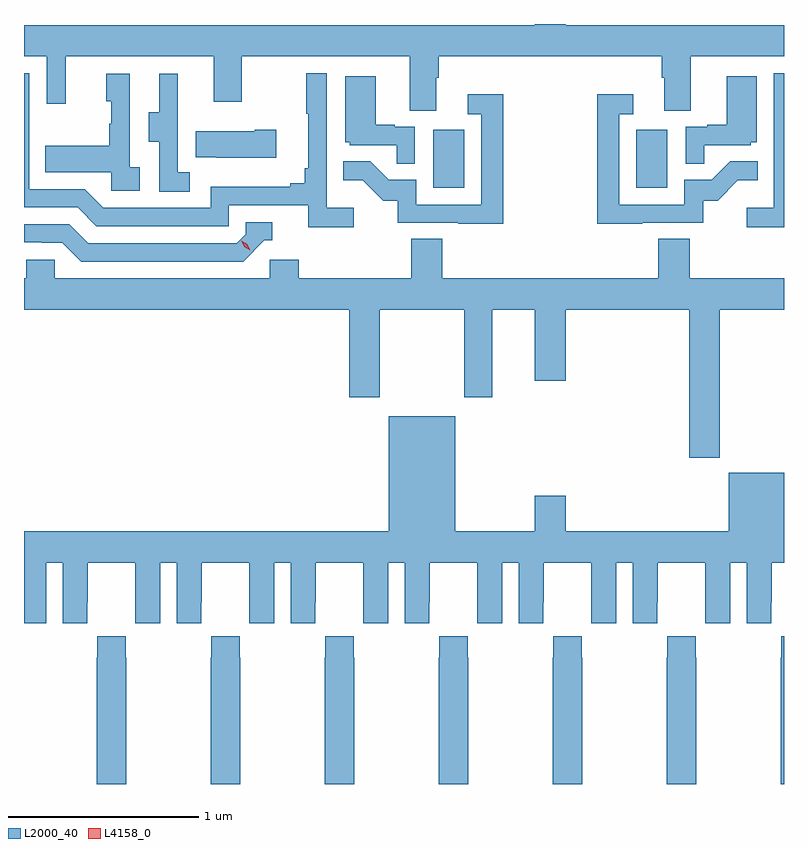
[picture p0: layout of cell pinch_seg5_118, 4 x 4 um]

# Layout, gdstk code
import gdstk
lib = gdstk.Library(unit=1e-6, precision=1e-09)
def R(c, l, rs):  # rectangles x0, y0, x1, y1
    for r in rs: c.add(gdstk.rectangle(r[:2], r[2:], *l))
def P(c, l, *ps):  # polygons
    for p in ps: c.add(gdstk.Polygon(p, *l))
L2000_40 = (2000, 40)
L4158_0 = (4158, 0)

pinch_seg5_118 = lib.new_cell('pinch_seg5_118')
R(pinch_seg5_118, L2000_40, [(1039.598,882.708,1039.762,883.015), (1040.666,882.708,1040.83,883.015)])
P(pinch_seg5_118, L2000_40, [(1039.615,883.288),(1039.628,883.288),(1039.628,883.4),(1040.801,883.4),(1040.801,883.288),(1040.813,883.288),(1040.813,883.114),(1040.953,883.114),(1040.953,883.4),(1041.444,883.4),(1041.444,883.564),(1040.296,883.564),(1040.296,883.571),(1040.132,883.571),(1040.132,883.564),(1037.444,883.564),(1037.444,883.4),(1037.565,883.4),(1037.565,883.152),(1037.663,883.152),(1037.663,883.4),(1038.443,883.4),(1038.443,883.161),(1038.591,883.161),(1038.591,883.4),(1039.475,883.4),(1039.475,883.114),(1039.615,883.114)],
  [(1039.18,882.604),(1039.038,882.604),(1039.038,883.312),(1038.93,883.312),(1038.93,883.099),(1038.941,883.099),(1038.941,882.811),(1038.922,882.811),(1038.922,882.734),(1038.845,882.734),(1038.845,882.715),(1038.426,882.715),(1038.426,882.603),(1037.862,882.603),(1037.763,882.702),(1037.472,882.702),(1037.472,883.311),(1037.444,883.311),(1037.444,882.606),(1037.726,882.606),(1037.825,882.507),(1038.522,882.507),(1038.522,882.618),(1038.941,882.618),(1038.941,882.502),(1039.18,882.502)],
  [(1041.444,883.312),(1041.39,883.312),(1041.39,882.604),(1041.249,882.604),(1041.249,882.502),(1041.444,882.502)],
  [(1038.316,882.791),(1038.252,882.791),(1038.252,883.095),(1038.254,883.095),(1038.254,883.309),(1038.155,883.309),(1038.155,883.107),(1038.101,883.107),(1038.101,882.952),(1038.156,882.952),(1038.156,882.688),(1038.316,882.688)],
  [(1038.052,882.818),(1038,882.818),(1038,883.309),(1037.876,883.309),(1037.876,883.164),(1037.902,883.164),(1037.902,883.046),(1037.892,883.046),(1037.892,882.931),(1037.557,882.931),(1037.557,882.791),(1037.904,882.791),(1037.904,882.693),(1038.052,882.693)],
  [(1039.5,883.029),(1039.394,883.029),(1039.394,883.042),(1039.294,883.042),(1039.294,883.297),(1039.136,883.297),(1039.136,882.948),(1039.158,882.948),(1039.158,882.933),(1039.405,882.933),(1039.405,882.835),(1039.5,882.835)],
  [(1041.023,882.933),(1041.27,882.933),(1041.27,882.948),(1041.301,882.948),(1041.301,883.297),(1041.143,883.297),(1041.143,883.042),(1041.039,883.042),(1041.039,883.029),(1040.928,883.029),(1040.928,882.835),(1041.023,882.835)],
  [(1040.699,882.525),(1041.018,882.525),(1041.018,882.642),(1041.094,882.642),(1041.201,882.749),(1041.305,882.749),(1041.305,882.848),(1041.161,882.848),(1041.063,882.75),(1040.919,882.75),(1040.919,882.621),(1040.577,882.621),(1040.577,883.095),(1040.65,883.095),(1040.65,883.201),(1040.461,883.201),(1040.461,882.52),(1040.699,882.52)],
  [(1039.967,883.201),(1039.779,883.201),(1039.779,883.095),(1039.851,883.095),(1039.851,882.621),(1039.509,882.621),(1039.509,882.75),(1039.365,882.75),(1039.267,882.848),(1039.123,882.848),(1039.123,882.749),(1039.227,882.749),(1039.334,882.642),(1039.411,882.642),(1039.411,882.525),(1039.729,882.525),(1039.729,882.52),(1039.967,882.52)],
  [(1038.772,883.014),(1038.659,883.014),(1038.659,883.006),(1038.349,883.006),(1038.349,882.869),(1038.457,882.869),(1038.457,882.866),(1038.772,882.866)],
  [(1038.708,882.432),(1038.751,882.432),(1038.751,882.528),(1038.612,882.528),(1038.612,882.465),(1038.564,882.417),(1037.781,882.417),(1037.682,882.516),(1037.444,882.516),(1037.444,882.423),(1037.538,882.423),(1037.538,882.42),(1037.645,882.42),(1037.744,882.321),(1038.597,882.321)],
  [(1041.105,882.068),(1041.444,882.068),(1041.444,882.232),(1040.948,882.232),(1040.948,882.44),(1040.783,882.44),(1040.783,882.232),(1039.646,882.232),(1039.646,882.44),(1039.481,882.44),(1039.481,882.232),(1038.89,882.232),(1038.89,882.33),(1038.738,882.33),(1038.738,882.232),(1037.607,882.232),(1037.607,882.33),(1037.457,882.33),(1037.457,882.232),(1037.444,882.232),(1037.444,882.068),(1039.157,882.068),(1039.157,881.607),(1039.317,881.607),(1039.317,882.068),(1039.762,882.068),(1039.762,881.607),(1039.909,881.607),(1039.909,882.068),(1040.132,882.068),(1040.132,881.694),(1040.296,881.694),(1040.296,882.068),(1040.945,882.068),(1040.945,881.289),(1041.105,881.289)],
  [(1037.56,880.736),(1037.648,880.736),(1037.648,880.416),(1037.778,880.416),(1037.778,880.528),(1037.779,880.528),(1037.779,880.736),(1038.029,880.736),(1038.029,880.528),(1038.03,880.528),(1038.03,880.416),(1038.16,880.416),(1038.16,880.736),(1038.248,880.736),(1038.248,880.416),(1038.378,880.416),(1038.378,880.528),(1038.379,880.528),(1038.379,880.736),(1038.629,880.736),(1038.629,880.528),(1038.63,880.528),(1038.63,880.416),(1038.76,880.416),(1038.76,880.736),(1038.848,880.736),(1038.848,880.416),(1038.978,880.416),(1038.978,880.528),(1038.979,880.528),(1038.979,880.736),(1039.229,880.736),(1039.229,880.528),(1039.23,880.528),(1039.23,880.416),(1039.36,880.416),(1039.36,880.736),(1039.448,880.736),(1039.448,880.416),(1039.578,880.416),(1039.578,880.528),(1039.579,880.528),(1039.579,880.736),(1039.829,880.736),(1039.829,880.528),(1039.83,880.528),(1039.83,880.416),(1039.96,880.416),(1039.96,880.736),(1040.048,880.736),(1040.048,880.416),(1040.178,880.416),(1040.178,880.528),(1040.179,880.528),(1040.179,880.736),(1040.429,880.736),(1040.429,880.528),(1040.43,880.528),(1040.43,880.416),(1040.56,880.416),(1040.56,880.736),(1040.648,880.736),(1040.648,880.416),(1040.778,880.416),(1040.778,880.528),(1040.779,880.528),(1040.779,880.736),(1041.029,880.736),(1041.029,880.528),(1041.03,880.528),(1041.03,880.416),(1041.16,880.416),(1041.16,880.736),(1041.248,880.736),(1041.248,880.416),(1041.378,880.416),(1041.378,880.528),(1041.379,880.528),(1041.379,880.736),(1041.444,880.736),(1041.444,881.209),(1041.152,881.209),(1041.152,880.9),(1040.296,880.9),(1040.296,881.089),(1040.132,881.089),(1040.132,880.9),(1039.714,880.9),(1039.714,881.506),(1039.364,881.506),(1039.364,880.9),(1037.444,880.9),(1037.444,880.416),(1037.56,880.416)],
  [(1041.444,880.348),(1041.429,880.348),(1041.429,880.235),(1041.427,880.235),(1041.427,879.571),(1041.444,879.571)],
  [(1040.982,880.235),(1040.979,880.235),(1040.979,880.348),(1040.829,880.348),(1040.829,880.235),(1040.827,880.235),(1040.827,879.571),(1040.982,879.571)],
  [(1040.382,880.235),(1040.379,880.235),(1040.379,880.348),(1040.229,880.348),(1040.229,880.235),(1040.227,880.235),(1040.227,879.571),(1040.382,879.571)],
  [(1039.782,880.235),(1039.779,880.235),(1039.779,880.348),(1039.629,880.348),(1039.629,880.235),(1039.627,880.235),(1039.627,879.571),(1039.782,879.571)],
  [(1039.182,880.235),(1039.179,880.235),(1039.179,880.348),(1039.029,880.348),(1039.029,880.235),(1039.027,880.235),(1039.027,879.571),(1039.182,879.571)],
  [(1037.982,880.235),(1037.979,880.235),(1037.979,880.348),(1037.829,880.348),(1037.829,880.235),(1037.827,880.235),(1037.827,879.571),(1037.982,879.571)],
  [(1038.582,880.235),(1038.579,880.235),(1038.579,880.348),(1038.429,880.348),(1038.429,880.235),(1038.427,880.235),(1038.427,879.571),(1038.582,879.571)])
P(pinch_seg5_118, L4158_0, [(1038.635,882.379),(1038.604,882.398),(1038.588,882.431),(1038.588,882.431),(1038.588,882.431),(1038.619,882.412),(1038.635,882.379),(1038.635,882.379)])

lib.write_gds('pinch_seg5_118.gds')
